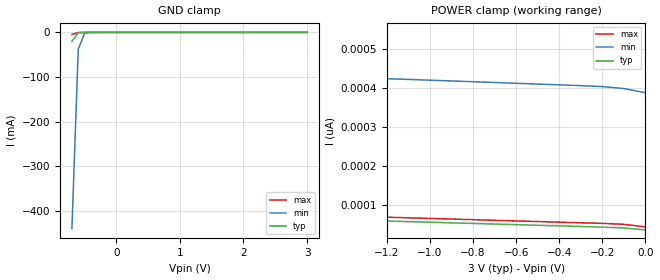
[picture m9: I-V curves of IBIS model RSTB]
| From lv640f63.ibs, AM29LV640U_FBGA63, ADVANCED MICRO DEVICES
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|   Model RSTB
[Model]   RSTB
Model_type   Input
Polarity   Inverting
Vinl =   0.8000V
Vinh =   2.1000V
C_comp   8.0000pF   8.0000pF   8.0000pF
[Temperature Range]   27.0000   100.0000   0.000
[Pullup Reference]   3.0000V   2.7000V   3.6000V
[Pulldown Reference]   0.000V   0.000V   0.000V
[POWER Clamp Reference]   3.0000V   2.7000V   3.6000V
[GND Clamp Reference]   0.000V   0.000V   0.000V
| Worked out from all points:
|   GND clamp passes 1 mA (typ) near -0.60 V on its own axis
[GND_clamp]
| voltage   I(typ)   I(min)   I(max)
-700mV    -19.86mA   -440.3mA   -4.491mA
-600mV    -544uA     -37.32mA   -434.8uA
-500mV    -20.73uA   -1.779mA   -46.58uA
-300mV    -51.19nA   -3.71uA    -157.7nA
3V        35.68pA    405.8pA    33.34pA
[POWER_clamp]
| voltage   I(typ)   I(min)   I(max)
-3V       212.8nA    76.05nA    887.1nA
-2.5V     1.037nA    1.297nA    6.367nA
-2.4V     350.8pA    763.7pA    1.742nA
-2.3V     149pA      558pA      492.7pA
-2.2V     91.23pA    480pA      176.7pA
-2.1V     75.66pA    451.5pA    100pA
-2V       71.64pA    441.7pA    83.26pA
-1.8V     68.14pA    435.7pA    78.07pA
-200mV    42.95pA    403.4pA    52.52pA
-100mV    40.72pA    398.4pA    50.21pA
0V        35.69pA    387.6pA    43.47pA
